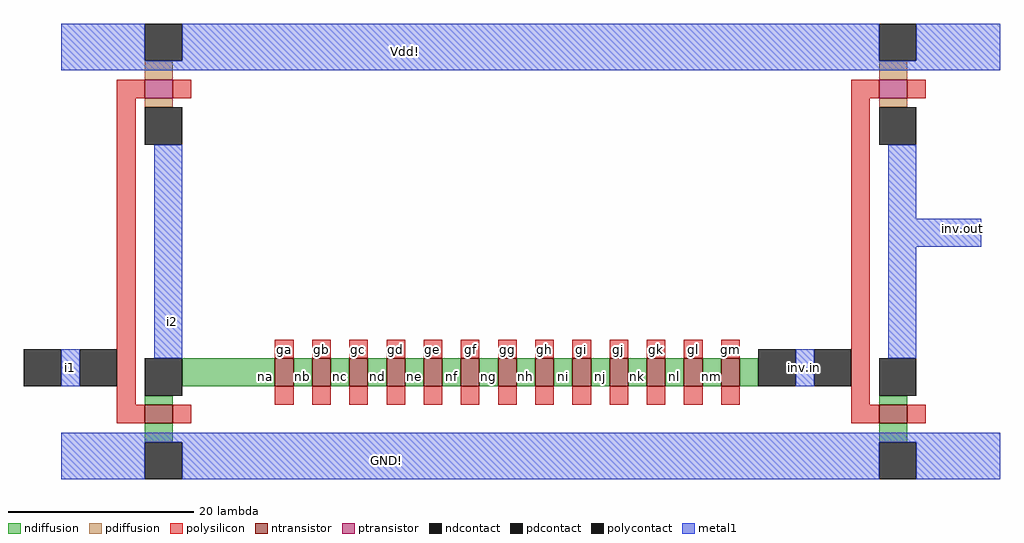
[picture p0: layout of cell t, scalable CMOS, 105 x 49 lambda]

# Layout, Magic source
magic
tech scmos
<< polysilicon >>
rect -25 37 -22 39
rect -19 37 -17 39
rect 54 37 57 39
rect 60 37 62 39
rect -25 4 -23 37
rect -8 9 -6 11
rect -4 9 -2 11
rect 0 9 2 11
rect 4 9 6 11
rect 8 9 10 11
rect 12 9 14 11
rect 16 9 18 11
rect 20 9 22 11
rect 24 9 26 11
rect 28 9 30 11
rect 32 9 34 11
rect 36 9 38 11
rect 40 9 42 11
rect -8 4 -6 6
rect -4 4 -2 6
rect 0 4 2 6
rect 4 4 6 6
rect 8 4 10 6
rect 12 4 14 6
rect 16 4 18 6
rect 20 4 22 6
rect 24 4 26 6
rect 28 4 30 6
rect 32 4 34 6
rect 36 4 38 6
rect 40 4 42 6
rect 54 4 56 37
rect -25 2 -22 4
rect -19 2 -17 4
rect 54 2 57 4
rect 60 2 62 4
<< ndiffusion >>
rect -18 6 -8 9
rect -6 6 -4 9
rect -2 6 0 9
rect 2 6 4 9
rect 6 6 8 9
rect 10 6 12 9
rect 14 6 16 9
rect 18 6 20 9
rect 22 6 24 9
rect 26 6 28 9
rect 30 6 32 9
rect 34 6 36 9
rect 38 6 40 9
rect 42 6 44 9
rect -22 4 -19 5
rect 57 4 60 5
rect -22 0 -19 2
rect 57 0 60 2
<< pdiffusion >>
rect -22 39 -19 41
rect 57 39 60 41
rect -22 36 -19 37
rect 57 36 60 37
<< metal1 >>
rect -31 41 -22 45
rect -18 41 57 45
rect 61 41 70 45
rect -31 40 70 41
rect -31 6 -29 10
rect -21 9 -18 32
rect 58 24 61 32
rect 58 21 68 24
rect 48 6 50 10
rect 58 9 61 21
rect -31 0 70 1
rect -31 -4 -22 0
rect -18 -4 57 0
rect 61 -4 70 0
<< polycontact >>
rect -29 6 -25 10
rect 50 6 54 10
<< ndcontact >>
rect -35 6 -31 10
rect -22 5 -18 9
rect 44 6 48 10
rect 57 5 61 9
rect -22 -4 -18 0
rect 57 -4 61 0
<< pdcontact >>
rect -22 41 -18 45
rect 57 41 61 45
rect -22 32 -18 36
rect 57 32 61 36
<< ntransistor >>
rect -8 6 -6 9
rect -4 6 -2 9
rect 0 6 2 9
rect 4 6 6 9
rect 8 6 10 9
rect 12 6 14 9
rect 16 6 18 9
rect 20 6 22 9
rect 24 6 26 9
rect 28 6 30 9
rect 32 6 34 9
rect 36 6 38 9
rect 40 6 42 9
rect -22 2 -19 4
rect 57 2 60 4
<< ptransistor >>
rect -22 37 -19 39
rect 57 37 60 39
<< labels >>
rlabel polysilicon -7 10 -7 10 5 ga
rlabel polysilicon -3 10 -3 10 5 gb
rlabel polysilicon 1 10 1 10 5 gc
rlabel polysilicon 5 10 5 10 5 gd
rlabel polysilicon 9 10 9 10 5 ge
rlabel polysilicon 13 10 13 10 5 gf
rlabel polysilicon 17 10 17 10 5 gg
rlabel polysilicon 21 10 21 10 5 gh
rlabel polysilicon 25 10 25 10 5 gi
rlabel polysilicon 29 10 29 10 5 gj
rlabel polysilicon 33 10 33 10 5 gk
rlabel polysilicon 37 10 37 10 5 gl
rlabel polysilicon 41 10 41 10 5 gm
rlabel ndiffusion -9 7 -9 7 5 na
rlabel ndiffusion -5 7 -5 7 5 nb
rlabel ndiffusion -1 7 -1 7 5 nc
rlabel ndiffusion 3 7 3 7 5 nd
rlabel ndiffusion 7 7 7 7 5 ne
rlabel ndiffusion 11 7 11 7 5 nf
rlabel ndiffusion 15 7 15 7 5 ng
rlabel ndiffusion 19 7 19 7 5 nh
rlabel ndiffusion 23 7 23 7 5 ni
rlabel ndiffusion 27 7 27 7 5 nj
rlabel ndiffusion 31 7 31 7 5 nk
rlabel ndiffusion 35 7 35 7 5 nl
rlabel ndiffusion 39 7 39 7 5 nm
rlabel metal1 66 23 66 23 7 inv.out
rlabel metal1 49 8 49 8 1 inv.in
rlabel metal1 -19 13 -19 13 1 i2
rlabel metal1 -30 8 -30 8 3 i1
rlabel metal1 6 42 6 42 5 Vdd!
rlabel metal1 4 -2 4 -2 1 GND!
<< end >>
